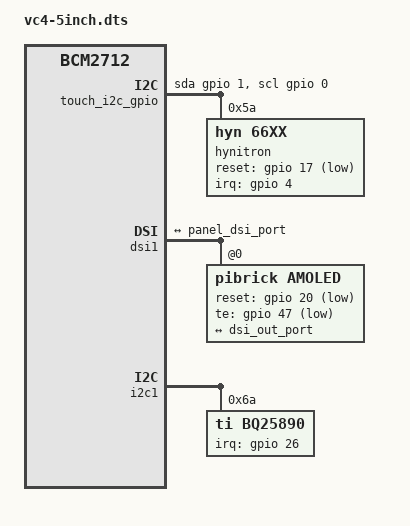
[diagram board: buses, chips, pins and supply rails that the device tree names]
/dts-v1/;
/plugin/;
/ {
	compatible = "brcm,bcm2712", "raspberrypi,5-compute-module", "raspberrypi,5-model-b";

	fragment@0 {
		target = <&dsi1>;
		__overlay__{
			status = "okay";
			#address-cells = <1>;
			#size-cells = <0>;
			port {
				dsi_out_port:endpoint {
					remote-endpoint = <&panel_dsi_port>;
				};
			};

			pibrick:pibrick@0 {
				compatible    = "pibrick,amoled";
				status        = "okay";
				reg           = <0>;
				reset-gpios   = <&gpio 20 1>;   // Dummy GPIO , Unused
				te-gpios      = <&gpio 47 1>;   // 47 - dummy
				rotation      = <0>;
				port {
					panel_dsi_port: endpoint {
						remote-endpoint = <&dsi_out_port>;
					};
				};
			};
		};
	};

	fragment@1 {
		target = <&gpio>;
		__overlay__ {
			pibrick_pins: pibrick_pins {
				brcm,pins = <47>;
				brcm,function = <1>; // out
				brcm,pull = <1>; // off
			};
		};
	};

	fragment@2 {
		target-path = "/";
		__overlay__ {
			touch_i2c_gpio: touch_i2c_gpio {
				compatible = "i2c-gpio";
				gpios = <&gpio 1 0 /* sda */
					&gpio 0 0 /* scl */
				>;
				i2c-gpio,delay-us = <2>;        /* ~100 kHz */
				#address-cells = <1>;
				#size-cells = <0>;
				status = "okay";
				i2c-max-frequency = <100000>;
			};
		};
	};

	fragment@3 {
		//target = <&i2c0>;
		target = <&touch_i2c_gpio>;
		__overlay__ {
			#address-cells = <1>;
			#size-cells = <0>;
			status = "okay";

			hynitron@5A {
				compatible = "hyn,66xx";
				// reg = <0x5A>;
				reg = <0x5A>;

				interrupt-parent = <&gpio>;
				interrupts = <4 2>;
				reset-gpio = <&gpio 17 1>;
				irq-gpio = <&gpio 4 2>; 
				
				panel = <&pibrick>;

				max-touch-number = <5>;
				display-coords = <0 0 1080 1240>;
				pos-swap = <1>;
				posx-reverse = <0>;
				posy-reverse = <0>;
			};
		};
	};
	
	fragment@4 {
		target = <&i2c1>;
		__overlay__ {
			#address-cells = <1>;
			#size-cells = <0>;
			status = "okay";

			bq25890: bq25890@6a {
				compatible = "ti,bq25890";
				reg = <0x6a>;
				
				ti,battery-regulation-voltage = <4100000>;
				ti,charge-current = <4000000>;
				ti,termination-current = <50000>;
				ti,precharge-current = <128000>;
				ti,minimum-sys-voltage = <3600000>;
				ti,boost-voltage = <5000000>;
				ti,boost-max-current = <3000000>;
				ti,use-ilim-pin;
				ti,thermal-regulation-threshold = <120>;

				interrupt-parent = <&gpio>;
				interrupts = <26 2>;
			};
		};
	};
	
};
